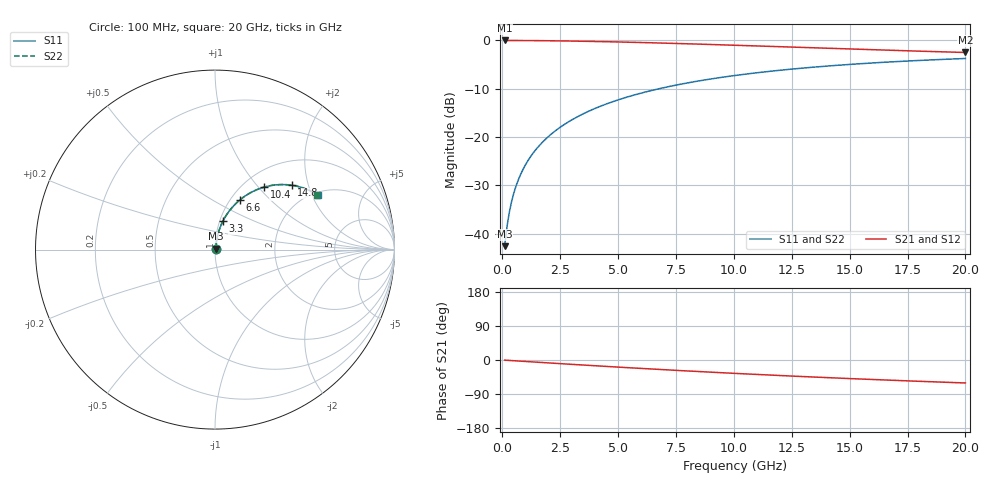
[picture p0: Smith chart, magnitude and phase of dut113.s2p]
! Touchstone file exported from HFSS 2026.1.0
!  File:  C:/ffzhzh/LocalFiles/Ansys_Project_Files/temp_train_BSMRDL_113_1782985892_45328.aedt
!  Generated:  05:53:04 PM Jul  2, 2026
!  Design:  BSMRDL
!  Project:  temp_train_BSMRDL_113_1782985892_45328
! Variables:
!  h_bsmrdl = 5.73um
!  h_ox = 20um
!  h_rdl = 5um
!  h_sub = 80um
!  h_tmrdl = 5um
!  h_tsv = 80um
!  h_via = 3um
!  l_bsmrdl = 871.33um
!  l_sub = 1271.33um
!  l_tmrdl = 200um
!  m_sub = 200um
!  pitch = 57.65um
!  r_tsv = 6um
!  s_tmrdl = 10um
!  w_bsmrdl = 10.05um
!  w_sub = 500um
!  w_tmrdl = 12um
!  x_tsv_center1 = 206um
!  x_tsv_center2 = 1087.38um
!  x_tsv_center3 = 1299.38um
!  x_tsv_center4 = 2180.76um
!  x_tsv_center5 = 2392.76um
!  x_tsv_center6 = 3274.14um
# GHz S MA R 50.000000
! Terminal data exported
! Port[1] = BSM_RDL1_1_T1
! Port[2] = BSM_RDL1_1_T2
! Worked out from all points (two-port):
!   200 points, 100 MHz to 20 GHz, reference 50 ohm
!   highest |S21| = -0.05 dB at 100 MHz (marker M1); lowest = -2.5 dB at 20 GHz (marker M2)
!   |S21| within 3 dB of the highest: start of sweep to end of sweep
!   lowest |S11| = -42.6 dB at 100 MHz (marker M3), VSWR 1.02, Z = 50.5 + j0.525 ohm
!   |S11| at or under -10 dB: start of sweep to 6.787 GHz
!   |S22| runs from -42.6 to -3.8 dB; largest |S21 - S12| = 3.6e-15
!   S11 on the Smith chart (normalised r, x): 100 MHz: 1.01, +0.01; 3.3 GHz: 1.04, +0.34; 6.6 GHz: 1.10, +0.67; 10.4 GHz: 1.24, +1.08; 14.8 GHz: 1.51, +1.57; 20 GHz: 2.10, +2.20
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0.1  0.007454 44.2  0.9947 -0.4  0.9947 -0.4  0.007454 44.2
! Gamma 0 0 0 0
! Port Impedance 50 0 50 0
0.2  0.01174 61.9  0.9946 -0.8  0.9946 -0.8  0.01174 61.9
0.3  0.01653 69.5  0.9944 -1.2  0.9944 -1.2  0.01653 69.5
0.4  0.02147 73.4  0.9942 -1.6  0.9942 -1.6  0.02147 73.4
0.5  0.02646 75.7  0.994 -2.0  0.994 -2.0  0.02646 75.7
0.7  0.0365 78.1  0.9935 -2.7  0.9935 -2.7  0.0365 78.1
1  0.05159 79.4  0.9927 -3.9  0.9927 -3.9  0.05159 79.4
1.4  0.07169 79.5  0.9911 -5.4  0.9911 -5.4  0.07169 79.5
1.9  0.09663 78.6  0.9886 -7.3  0.9886 -7.3  0.09663 78.6
2.5  0.1261 77.0  0.9846 -9.6  0.9846 -9.6  0.1261 77.0
3.3  0.1645 74.5  0.9781 -12.6  0.9781 -12.6  0.1645 74.5
3.5  0.174 73.8  0.9762 -13.4  0.9762 -13.4  0.174 73.8
4.9  0.2375 69.1  0.9612 -18.4  0.9612 -18.4  0.2375 69.1
6.6  0.3088 63.5  0.9392 -24.3  0.9392 -24.3  0.3088 63.5
6.8  0.3167 62.8  0.9364 -25.0  0.9364 -25.0  0.3167 62.8
8.3  0.3732 58.0  0.9146 -29.9  0.9146 -29.9  0.3732 58.1
10.1  0.4339 52.6  0.8869 -35.5  0.8869 -35.5  0.4339 52.7
10.4  0.4433 51.8  0.8822 -36.4  0.8822 -36.4  0.4433 51.8
13.4  0.526 43.5  0.8357 -44.9  0.8357 -44.9  0.526 43.6
14.8  0.5581 39.9  0.8148 -48.5  0.8148 -48.5  0.5581 40.0
16.7  0.5959 35.4  0.7881 -53.2  0.7881 -53.2  0.5959 35.4
20  0.6477 28.1  0.7473 -60.6  0.7473 -60.6  0.6477 28.2
